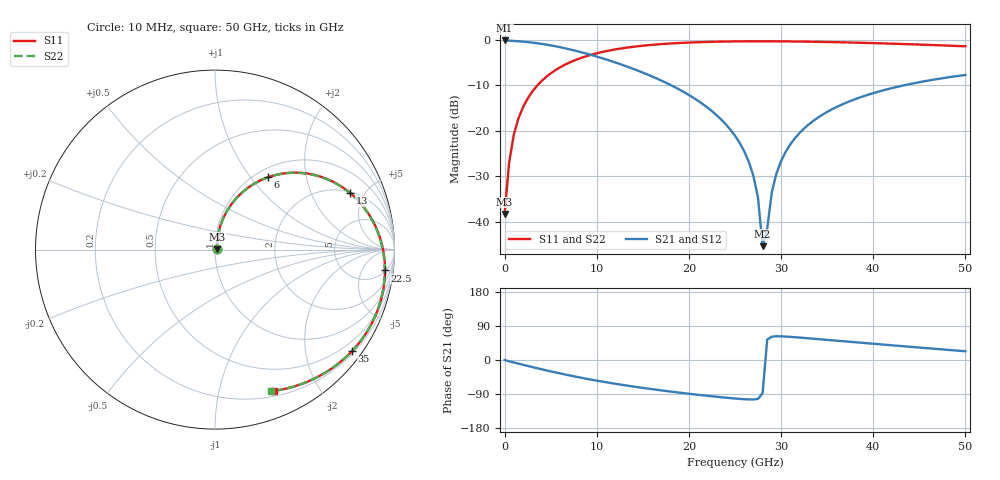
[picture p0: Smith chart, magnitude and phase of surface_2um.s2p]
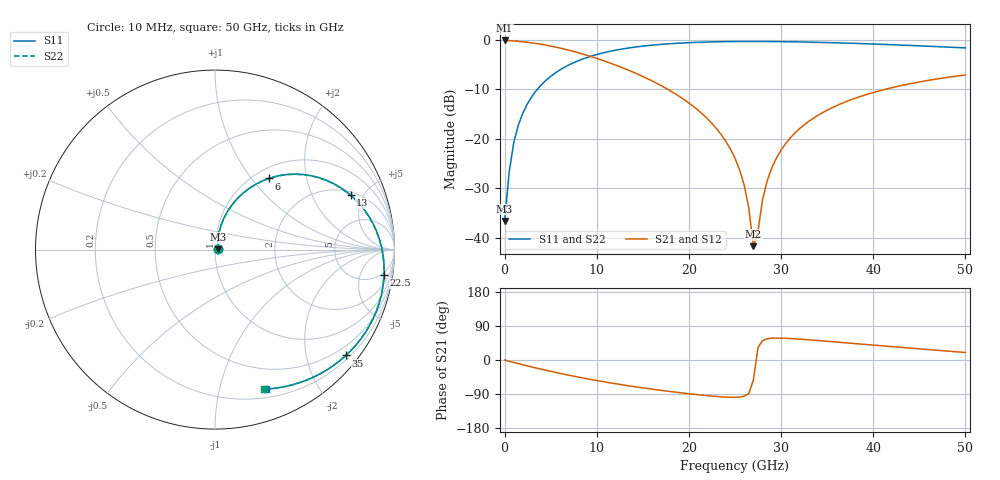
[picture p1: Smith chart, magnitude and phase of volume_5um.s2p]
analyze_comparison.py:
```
#!/usr/bin/env python
"""Surface-impedance vs. filled_metals (bulk-conductivity volume) conductor
modeling comparison for the L_2n0_twoport differential inductor (IHP
SG13G2), at matched (surface_2/volume_2, 2um) and finer (volume_1, 1um) or
coarser (volume_5, 5um) mesh.

Reads RAW (not de-embedded) 2-port Touchstone files from results/snp/,
following the repo's mesh-convergence-study convention
(more_examples/mesh_convergence/AGENTS.md, SS2.6/2.7):
  - S-parameter overlay + delta-S tables (Max|dS|, standard HFSS-style
    convergence metric)
  - Differential L/Q/Rseries: Zdiff = Z11-Z12-Z21+Z22 (plain engineering
    convention, same as mesh_convergence_inductor/results/plot_inductor_convergence.py
    and the external plot_inductor.py utility it reimplements), then
    Ldiff = Im(Zdiff)/omega, Qdiff = Im(Zdiff)/Re(Zdiff), Rdiff = Re(Zdiff)

Eval frequency: 7 GHz (per user request), plus 1 GHz and 25 GHz for context
across the swept band.
"""
import os
import csv
import math
import numpy as np
import skrf as rf
import matplotlib
matplotlib.use("Agg")
import matplotlib.pyplot as plt

HERE = os.path.dirname(os.path.abspath(__file__))
SNP_DIR = os.path.join(HERE, "snp")
PLOT_DIR = os.path.join(HERE, "plots")

SERIES = [
    ("surface_2um", "Surface, 2 um (baseline)", "surface_2um.s2p"),
    ("volume_5um", "filled_metals, 5 um", "volume_5um.s2p"),
    ("volume_2um", "filled_metals, 2 um", "volume_2um.s2p"),
    ("volume_1um", "filled_metals, 1 um", "volume_1um.s2p"),
]

COMPARISONS = [
    ("surface_2um", "volume_2um", "conductor modeling only (matched 2um mesh)"),
    ("volume_5um", "volume_2um", "mesh refinement only (filled_metals, 5um -> 2um)"),
    ("volume_2um", "volume_1um", "mesh refinement only (filled_metals, 2um -> 1um)"),
    ("surface_2um", "volume_1um", "combined (baseline vs. filled_metals as used)"),
]

EVAL_FREQS_GHZ = [1.0, 7.0, 20.0]  # 7 GHz is the requested design/eval frequency; SRF ~23 GHz
                                    # (see find_srf_hz below) so 20 GHz stays below resonance
FMIN_HZ = 100e6  # avoid divide-by-zero near DC

PARAMS = ["S11", "S21"]  # plain 2-port, S12=S21 by reciprocity


def load(entry):
    key, label, fname = entry
    path = os.path.join(SNP_DIR, fname)
    if not os.path.isfile(path):
        return None
    nw = rf.Network(path)
    nw.name = label
    fmax = nw.frequency.f.max()
    fspec = f"{int(FMIN_HZ/1e6)}-{int(fmax/1e6)}mhz"
    return key, label, nw[fspec]


def db(x):
    return 20 * np.log10(np.abs(x))


def deg(x):
    return np.angle(x, deg=True)


def s_traces(nw):
    s = nw.s
    return {"S11": s[:, 0, 0], "S21": s[:, 1, 0]}


def get_diff_model(nw):
    z = nw.z
    z11, z12, z21, z22 = z[:, 0, 0], z[:, 0, 1], z[:, 1, 0], z[:, 1, 1]
    zdiff = z11 - z12 - z21 + z22
    freq = nw.frequency.f
    omega = freq * 2 * math.pi
    return freq, zdiff.real, zdiff.imag / omega, zdiff.imag / zdiff.real  # freq, R, L, Q


def max_delta_linear(fa, xa, fb, xb):
    common = np.intersect1d(fa, fb)
    if common.size == 0:
        return None
    ia = np.searchsorted(fa, common)
    ib = np.searchsorted(fb, common)
    return float(np.max(np.abs(xb[ib] - xa[ia])))


def delta_db_at_freq(fa, xa, fb, xb, freq_hz):
    ia = int(np.argmin(np.abs(fa - freq_hz)))
    ib = int(np.argmin(np.abs(fb - freq_hz)))
    if abs(fa[ia] - freq_hz) > 0.6e9 or abs(fb[ib] - freq_hz) > 0.6e9:
        return None
    return float(abs(db(xb[ib]) - db(xa[ia])))


def value_at_freq(freq, values, freq_hz):
    idx = int(np.argmin(np.abs(freq - freq_hz)))
    if abs(freq[idx] - freq_hz) > 0.6e9:
        return None
    return float(values[idx])


def find_srf_hz(freq, Ldiff):
    """Frequency where the differential inductance crosses zero (self-resonance) -
    same method as mesh_convergence_inductor/results/plot_inductor_convergence.py."""
    idx = np.where(np.diff(np.sign(Ldiff)))[0]
    if len(idx) == 0:
        return None
    i = idx[0]
    f0, f1 = freq[i], freq[i + 1]
    l0, l1 = Ldiff[i], Ldiff[i + 1]
    return f0 - l0 * (f1 - f0) / (l1 - l0)


def main():
    loaded = {}
    labels = {}
    networks = {}
    for entry in SERIES:
        result = load(entry)
        if result is None:
            print(f"WARNING: missing {entry[2]}, skipping")
            continue
        key, label, nw = result
        networks[key] = nw
        loaded[key] = (nw.frequency.f, s_traces(nw))
        labels[key] = label

    if len(loaded) < 2:
        print("Need at least two results; exiting.")
        return

    os.makedirs(PLOT_DIR, exist_ok=True)

    # ---------- S-parameter delta table ----------
    def fmt(x):
        return f"{x:.4f}" if x is not None else "n/a"

    csv_path = os.path.join(HERE, "results", "delta_S_table.csv") if os.path.basename(HERE) != "results" else os.path.join(HERE, "delta_S_table.csv")
    csv_path = os.path.join(HERE, "delta_S_table.csv")
    with open(csv_path, "w", newline="") as f:
        writer = csv.writer(f)
        writer.writerow(["Param", "Comparison", "What changes", "Max|dS| (linear)"] +
                         [f"|dS_dB| at {g}GHz" for g in EVAL_FREQS_GHZ])
        for pname in PARAMS:
            for key_a, key_b, what in COMPARISONS:
                if key_a not in loaded or key_b not in loaded:
                    continue
                fa, xa = loaded[key_a][0], loaded[key_a][1][pname]
                fb, xb = loaded[key_b][0], loaded[key_b][1][pname]
                max_d = max_delta_linear(fa, xa, fb, xb)
                d_vals = [delta_db_at_freq(fa, xa, fb, xb, g * 1e9) for g in EVAL_FREQS_GHZ]
                writer.writerow([pname, f"{labels[key_a]} -> {labels[key_b]}", what,
                                  fmt(max_d)] + [fmt(d) for d in d_vals])
    print(f"Wrote delta-S table: {csv_path}")

    # ---------- S-parameter overlay plots ----------
    colors = {"surface_2um": "#4c72b0", "volume_5um": "#55a868", "volume_2um": "#dd8452", "volume_1um": "#c44e52"}
    styles = {"surface_2um": "-", "volume_5um": ":", "volume_2um": "--", "volume_1um": "-"}

    for pname in PARAMS:
        fig, (ax_mag, ax_phase) = plt.subplots(2, 1, figsize=(8, 7), sharex=True)
        for key, _label, _fname in SERIES:
            if key not in loaded:
                continue
            freq, pdict = loaded[key]
            freq_ghz = freq / 1e9
            ax_mag.plot(freq_ghz, db(pdict[pname]), color=colors[key], linestyle=styles[key], label=labels[key])
            ax_phase.plot(freq_ghz, deg(pdict[pname]), color=colors[key], linestyle=styles[key], label=labels[key])
        ax_mag.set_ylabel(f"|{pname}| (dB)")
        ax_mag.grid(True, alpha=0.3)
        ax_mag.legend(fontsize=8)
        ax_mag.set_title(f"{pname}: surface-impedance vs. filled_metals conductor modeling")
        ax_phase.set_xlabel("Frequency (GHz)")
        ax_phase.set_ylabel(f"arg({pname}) (deg)")
        ax_phase.grid(True, alpha=0.3)
        fig.tight_layout()
        out_path = os.path.join(PLOT_DIR, f"{pname.lower()}_comparison.png")
        fig.savefig(out_path, dpi=150)
        plt.close(fig)
        print(f"Wrote plot: {out_path}")

    # ---------- differential L/Q/Rseries ----------
    diff_traces = {}
    for key, (label, _fname) in {k: (labels[k], None) for k in loaded}.items():
        freq, R, L, Q = get_diff_model(networks[key])
        diff_traces[key] = dict(label=label, freq=freq, R=R, L=L, Q=Q)

    # cap the plotted range below self-resonance (L flips sign past SRF, not
    # meaningful as "the inductance" there) - use the finest variant's own SRF
    ref_key = "volume_1um" if "volume_1um" in diff_traces else list(diff_traces.keys())[-1]
    srf_hz = find_srf_hz(diff_traces[ref_key]["freq"], diff_traces[ref_key]["L"])
    fmax_ghz = 1.2 * srf_hz / 1e9 if srf_hz else max(tr["freq"].max() for tr in diff_traces.values()) / 1e9
    srf_note = f" (SRF~{srf_hz/1e9:.1f} GHz)" if srf_hz else ""

    param_info = {
        "L": ("Diff. Inductance (nH)", "Differential inductance", 1e9, None, None),
        "Q": ("Diff. Q factor", "Differential Q factor", 1, None, None),
        # zoomed to the low-frequency detail (full range to SRF makes R>100 Ohm near
        # resonance dominate the axis and hides the 0-8 GHz behavior)
        "R": ("Diff. series resistance (Ohm)", "Differential series resistance", 1, 8.0, (0, 5)),
    }
    for pname, (ylabel, title, scale, xmax_override, ylim_override) in param_info.items():
        plot_fmax_ghz = xmax_override if xmax_override is not None else fmax_ghz
        fig, ax = plt.subplots(figsize=(7, 5.5))
        for key, _label, _fname in SERIES:
            if key not in diff_traces:
                continue
            tr = diff_traces[key]
            freq_ghz = tr["freq"] / 1e9
            mask = freq_ghz <= plot_fmax_ghz
            ax.plot(freq_ghz[mask], (tr[pname] * scale)[mask], color=colors[key], linestyle=styles[key], label=tr["label"])
        ax.set_xlabel("Frequency (GHz)")
        ax.set_ylabel(ylabel)
        ax.set_xlim(0, plot_fmax_ghz)
        if ylim_override is not None:
            ax.set_ylim(*ylim_override)
        ax.grid(True, alpha=0.3)
        ax.legend(fontsize=8)
        title_suffix = srf_note if xmax_override is None else ""
        ax.set_title(f"{title}: surface-impedance vs. filled_metals{title_suffix}")
        fig.tight_layout()
        out_path = os.path.join(PLOT_DIR, f"inductor_LQR_{pname.lower()}.png")
        fig.savefig(out_path, dpi=150)
        plt.close(fig)
        print(f"Wrote plot: {out_path}")

    # ---------- L/Q/R delta table ----------
    lqr_csv = os.path.join(HERE, "delta_LQR_table.csv")
    with open(lqr_csv, "w", newline="") as f:
        writer = csv.writer(f)
        writer.writerow(["Freq (GHz)", "Variant", "L (nH)", "Q", "Rseries (Ohm)"])
        for g in EVAL_FREQS_GHZ:
            for key, _label, _fname in SERIES:
                if key not in diff_traces:
                    continue
                tr = diff_traces[key]
                L_val = value_at_freq(tr["freq"], tr["L"], g * 1e9)
                Q_val = value_at_freq(tr["freq"], tr["Q"], g * 1e9)
                R_val = value_at_freq(tr["freq"], tr["R"], g * 1e9)
                writer.writerow([f"{g:.1f}", tr["label"],
                                  fmt(L_val * 1e9) if L_val is not None else "n/a",
                                  fmt(Q_val) if Q_val is not None else "n/a",
                                  fmt(R_val) if R_val is not None else "n/a"])
    print(f"Wrote L/Q/R table: {lqr_csv}")


if __name__ == "__main__":
    main()
```
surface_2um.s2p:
#  GHZ S DB R 50.0
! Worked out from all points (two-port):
!   102 points, 10 MHz to 50 GHz, reference 50 ohm
!   highest |S21| = -0.11 dB at 10 MHz (marker M1); lowest = -45.3 dB at 28 GHz (marker M2)
!   |S21| within 3 dB of the highest: start of sweep to 9.075 GHz
!   lowest |S11| = -38.2 dB at 10 MHz (marker M3), VSWR 1.02, Z = 51.2 + j0.091 ohm
!   |S11| at or under -10 dB: start of sweep to 3.563 GHz
!   |S22| runs from -38.2 to -0.3 dB; largest |S21 - S12| = 2.7e-13
!   S11 on the Smith chart (normalised r, x): 10 MHz: 1.02, +0.00; 6 GHz: 1.14, +1.22; 13 GHz: 2.07, +3.93; 22.5 GHz: 5, -14; 35 GHz: 0.26, -3.00; 50 GHz: 0.26, -1.47
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0.01  -38.24 4.2  -0.11 -0.1  -0.11 -0.1  -38.24 4.2
1.5  -17.31 77.4  -0.29 -9.6  -0.29 -9.6  -17.32 77.3
6  -6.04 53.9  -1.58 -35.3  -1.58 -35.3  -6.05 53.8
13  -1.76 22.8  -5.63 -66.4  -5.63 -66.4  -1.77 22.6
22.5  -0.41 -7.0  -15.64 -95.7  -15.64 -95.7  -0.41 -7.3
25.5  -0.31 -14.7  -22.59 -102.6  -22.59 -102.6  -0.32 -15.1
27  -0.29 -18.4  -29.88 -104.2  -29.88 -104.2  -0.30 -18.8
28  -0.29 -20.8  -45.33 -87.4  -45.33 -87.4  -0.30 -21.2
30  -0.31 -25.5  -26.64 62.4  -26.64 62.4  -0.32 -25.9
35  -0.45 -36.6  -15.82 53.1  -15.82 53.1  -0.46 -37.1
50  -1.39 -67.4  -7.69 23.1  -7.69 23.1  -1.42 -68.4
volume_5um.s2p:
#  GHZ S DB R 50.0
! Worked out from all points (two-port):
!   102 points, 10 MHz to 50 GHz, reference 50 ohm
!   highest |S21| = -0.13 dB at 10 MHz (marker M1); lowest = -41.6 dB at 27 GHz (marker M2)
!   |S21| within 3 dB of the highest: start of sweep to 8.952 GHz
!   lowest |S11| = -36.5 dB at 10 MHz (marker M3), VSWR 1.03, Z = 51.5 + j0.0875 ohm
!   |S11| at or under -10 dB: start of sweep to 3.556 GHz
!   |S22| runs from -36.5 to -0.3 dB; largest |S21 - S12| = 7.1e-14
!   S11 on the Smith chart (normalised r, x): 10 MHz: 1.03, +0.00; 6 GHz: 1.16, +1.22; 13 GHz: 2.21, +3.99; 22.5 GHz: 4, -12; 35 GHz: 0.29, -2.80; 50 GHz: 0.28, -1.39
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0.01  -36.53 3.3  -0.13 -0.1  -0.13 -0.1  -36.53 3.3
0.5  -26.80 71.1  -0.17 -3.5  -0.17 -3.5  -26.80 71.0
1.5  -17.20 76.2  -0.32 -9.7  -0.32 -9.7  -17.20 76.2
6  -6.08 53.0  -1.66 -35.2  -1.66 -35.2  -6.09 52.9
13  -1.79 22.0  -5.79 -66.3  -5.79 -66.3  -1.79 21.8
22.5  -0.42 -8.5  -16.86 -95.1  -16.86 -95.1  -0.43 -8.8
25.5  -0.34 -16.5  -26.21 -97.8  -26.21 -97.8  -0.35 -16.8
27  -0.33 -20.3  -41.64 -53.1  -41.64 -53.1  -0.34 -20.7
29.5  -0.36 -26.4  -23.85 57.9  -23.85 57.9  -0.37 -26.8
35  -0.56 -39.0  -14.20 49.4  -14.20 49.4  -0.57 -39.4
50  -1.64 -69.8  -7.10 19.8  -7.10 19.8  -1.66 -70.6
